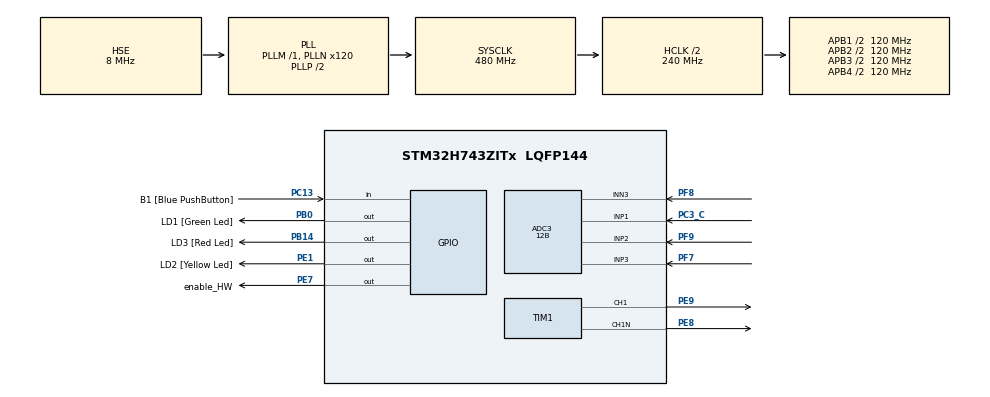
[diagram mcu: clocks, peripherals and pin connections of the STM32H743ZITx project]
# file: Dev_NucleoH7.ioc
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ADC3.Channel-1\#ChannelRegularConversion=ADC_CHANNEL_1
ADC3.Channel-2\#ChannelRegularConversion=ADC_CHANNEL_2
ADC3.Channel-3\#ChannelRegularConversion=ADC_CHANNEL_3
ADC3.ContinuousConvMode=DISABLE
ADC3.ConversionDataManagement=ADC_CONVERSIONDATA_DMA_CIRCULAR
ADC3.EOCSelection=ADC_EOC_SEQ_CONV
ADC3.ExternalTrigConv=ADC_EXTERNALTRIG_T1_TRGO
ADC3.ExternalTrigConvEdge=ADC_EXTERNALTRIGCONVEDGE_RISING
ADC3.NbrOfConversion=3
ADC3.NbrOfConversionFlag=1
ADC3.Offset-3\#ChannelRegularConversion=0
ADC3.OffsetNumber-1\#ChannelRegularConversion=ADC_OFFSET_NONE
ADC3.OffsetNumber-2\#ChannelRegularConversion=ADC_OFFSET_NONE
ADC3.OffsetNumber-3\#ChannelRegularConversion=ADC_OFFSET_1
ADC3.OffsetSignedSaturation-1\#ChannelRegularConversion=DISABLE
ADC3.Rank-1\#ChannelRegularConversion=1
ADC3.Rank-2\#ChannelRegularConversion=2
ADC3.Rank-3\#ChannelRegularConversion=3
ADC3.Resolution=ADC_RESOLUTION_12B
ADC3.SamplingTime-1\#ChannelRegularConversion=ADC_SAMPLETIME_1CYCLE_5
ADC3.SamplingTime-2\#ChannelRegularConversion=ADC_SAMPLETIME_1CYCLE_5
ADC3.SamplingTime-3\#ChannelRegularConversion=ADC_SAMPLETIME_1CYCLE_5
ADC3.SingleDiff-3\#ChannelRegularConversion=ADC_DIFFERENTIAL_ENDED
Dma.ADC3.0.Direction=DMA_PERIPH_TO_MEMORY
Dma.ADC3.0.EventEnable=DISABLE
Dma.ADC3.0.FIFOMode=DMA_FIFOMODE_DISABLE
Dma.ADC3.0.Instance=DMA1_Stream0
Dma.ADC3.0.MemDataAlignment=DMA_MDATAALIGN_WORD
Dma.ADC3.0.MemInc=DMA_MINC_ENABLE
Dma.ADC3.0.Mode=DMA_CIRCULAR
Dma.ADC3.0.PeriphDataAlignment=DMA_PDATAALIGN_WORD
Dma.ADC3.0.PeriphInc=DMA_PINC_DISABLE
Dma.ADC3.0.Polarity=HAL_DMAMUX_REQ_GEN_RISING
Dma.ADC3.0.Priority=DMA_PRIORITY_LOW
Dma.ADC3.0.RequestNumber=1
Dma.ADC3.0.SignalID=NONE
Dma.ADC3.0.SyncEnable=DISABLE
Dma.ADC3.0.SyncPolarity=HAL_DMAMUX_SYNC_NO_EVENT
Dma.ADC3.0.SyncRequestNumber=1
Dma.ADC3.0.SyncSignalID=NONE
Dma.Request0=ADC3
FREERTOS.Queues01=qMeasurements,16,float,0,Dynamic,NULL,NULL;qControl,16,float,0,Dynamic,NULL,NULL
FREERTOS.Tasks01=Measurements,24,128,initMeasurements,Default,NULL,Dynamic,NULL,NULL;Control,24,128,initControl,Default,NULL,Dynamic,NULL,NULL;Safety,24,128,initSafety,Default,NULL,Dynamic,NULL,NULL
FREERTOS.configGENERATE_RUN_TIME_STATS=1
FREERTOS.configUSE_APPLICATION_TASK_TAG=0
FREERTOS.configUSE_NEWLIB_REENTRANT=1
Mcu.Family=STM32H7
Mcu.Name=STM32H743ZITx
Mcu.Package=LQFP144
NVIC.ADC3_IRQn=true\:5\:0\:false\:false\:true\:true\:true\:true\:true
NVIC.DMA1_Stream0_IRQn=true\:5\:0\:false\:false\:true\:true\:false\:true\:true
NVIC.PriorityGroup=NVIC_PRIORITYGROUP_4
NVIC.TIM1_BRK_IRQn=true\:5\:0\:false\:false\:true\:true\:true\:true\:true
NVIC.TIM1_UP_IRQn=true\:5\:0\:false\:false\:true\:true\:true\:true\:true
NVIC.TIM6_DAC_IRQn=true\:15\:0\:false\:false\:true\:false\:false\:true\:true
NVIC.TimeBase=TIM6_DAC_IRQn
NVIC.TimeBaseIP=TIM6
PA1.Signal=ETH_REF_CLK
PA11.Signal=USB_OTG_FS_DM
PA12.Signal=USB_OTG_FS_DP
PA13\ (JTMS/SWDIO).Mode=Trace_Asynchronous_SW
PA13\ (JTMS/SWDIO).Signal=DEBUG_JTMS-SWDIO
PA14\ (JTCK/SWCLK).Mode=Trace_Asynchronous_SW
PA14\ (JTCK/SWCLK).Signal=DEBUG_JTCK-SWCLK
PA2.Signal=ETH_MDIO
PA7.Signal=ETH_CRS_DV
PA8.Signal=USB_OTG_FS_SOF
PA9.Signal=USB_OTG_FS_VBUS
PB0.GPIO_Label=LD1 [Green Led]
PB0.Signal=GPIO_Output
PB13.Signal=ETH_TXD1
PB14.GPIO_Label=LD3 [Red Led]
PB14.Signal=GPIO_Output
PB3\ (JTDO/TRACESWO).Mode=Trace_Asynchronous_SW
PB3\ (JTDO/TRACESWO).Signal=DEBUG_JTDO-SWO
PC13.GPIO_Label=B1 [Blue PushButton]
PC13.Signal=GPIO_Input
PC14-OSC32_IN\ (OSC32_IN).Mode=LSE-External-Oscillator
PC14-OSC32_IN\ (OSC32_IN).Signal=RCC_OSC32_IN
PC15-OSC32_OUT\ (OSC32_OUT).Mode=LSE-External-Oscillator
PC15-OSC32_OUT\ (OSC32_OUT).Signal=RCC_OSC32_OUT
PC3_C.Mode=IN1-Single-Ended
PC3_C.Signal=ADC3_INP1
PC4.Signal=ETH_RXD0
PC5.Signal=ETH_RXD1
PD8.GPIO_Label=STLINK_RX
PD8.Signal=USART3_TX
PD9.GPIO_Label=STLINK_TX
PD9.Signal=USART3_RX
PE1.GPIO_Label=LD2 [Yellow Led]
PE1.Signal=GPIO_Output
PE7.GPIO_Label=enable_HW
PE7.Signal=GPIO_Output
PE8.Mode=PWM Generation1 CH1 CH1N
PE8.Signal=TIM1_CH1N
PE9.Signal=S_TIM1_CH1
PF7.Mode=IN3-Differential
PF7.Signal=ADC3_INP3
PF8.Mode=IN3-Differential
PF8.Signal=ADC3_INN3
PF9.Mode=IN2-Single-Ended
PF9.Signal=ADC3_INP2
PG11.Signal=ETH_TX_EN
PG13.Signal=ETH_TXD0
PH0-OSC_IN\ (PH0).Mode=HSE-External-Clock-Source
PH0-OSC_IN\ (PH0).Signal=RCC_OSC_IN
PH1-OSC_OUT\ (PH1).Signal=RCC_OSC_OUT
ProjectManager.HeapSize=0x200
ProjectManager.StackSize=0x400
ProjectManager.TargetToolchain=STM32CubeIDE
RCC.ADCFreq_Value=76000000
RCC.APB1Freq_Value=120000000
RCC.APB2Freq_Value=120000000
RCC.APB3Freq_Value=120000000
RCC.APB4Freq_Value=120000000
RCC.CortexFreq_Value=480000000
RCC.D1PPRE=RCC_APB3_DIV2
RCC.D2PPRE1=RCC_APB1_DIV2
RCC.D2PPRE2=RCC_APB2_DIV2
RCC.D3PPRE=RCC_APB4_DIV2
RCC.DIVM1=1
RCC.DIVM2=1
RCC.DIVN1=120
RCC.DIVN2=19
RCC.DIVQ1=4
RCC.HCLKFreq_Value=240000000
RCC.HPRE=RCC_HCLK_DIV2
RCC.HSE_VALUE=8000000
RCC.PLLFRACN=0
RCC.PLLSourceVirtual=RCC_PLLSOURCE_HSE
RCC.PWR_Regulator_Voltage_Scale=PWR_REGULATOR_VOLTAGE_SCALE0
RCC.SYSCLKFreq_VALUE=480000000
RCC.SYSCLKSource=RCC_SYSCLKSOURCE_PLLCLK
RCC.USBCLockSelection=RCC_USBCLKSOURCE_HSI48
RCC.USBFreq_Value=48000000
SH.S_TIM1_CH1.0=TIM1_CH1,PWM Generation1 CH1 CH1N
TIM1.AutoReloadPreload=TIM_AUTORELOAD_PRELOAD_ENABLE
TIM1.Channel-PWM\ Generation1\ CH1\ CH1N=TIM_CHANNEL_1
TIM1.CounterMode=TIM_COUNTERMODE_CENTERALIGNED1
TIM1.DeadTime=DEAD_TIME*480000000*8
TIM1.LockLevel=TIM_LOCKLEVEL_1
TIM1.OCNIdleState_1=TIM_OCNIDLESTATE_SET
TIM1.OCNPolarity_1=TIM_OCNPOLARITY_LOW
TIM1.Period=(480000000/(FSW*4))-1
TIM1.TIM_MasterOutputTrigger=TIM_TRGO_UPDATE
VP_FREERTOS_VS_CMSIS_V2.Mode=CMSIS_V2
VP_SYS_VS_tim6.Mode=TIM6
VP_TIM1_VS_ClockSourceINT.Mode=Internal
board=NUCLEO-H743ZI2

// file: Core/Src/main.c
/* USER CODE BEGIN Header */
/**
  ******************************************************************************
  * @file           : main.c
  * @brief          : Main program body
  ******************************************************************************
  * @attention
  *
  * Copyright (c) 2023 STMicroelectronics.
  * All rights reserved.
  *
  * This software is licensed under terms that can be found in the LICENSE file
  * in the root directory of this software component.
  * If no LICENSE file comes with this software, it is provided AS-IS.
  *
  ******************************************************************************
  */
/* USER CODE END Header */
#include "main.h"
#include "cmsis_os.h"
#include "adc.h"
#include "dma.h"
#include "tim.h"
#include "gpio.h"

/* USER CODE BEGIN PV */
volatile uint32_t ADC3_raw[4]={0};
volatile float currentSetpoint = 0.0F;
volatile uint8_t enable = 0;
volatile float duty = 0.5F;
volatile float current = 0.0F;
volatile float voltage= 0.0F;
volatile float temp = 0.0F;

/* USER CODE END PV */

void SystemClock_Config(void);
void MX_FREERTOS_Init(void);

int main(void)
{

  /* MCU Configuration--------------------------------------------------------*/

  /* Reset of all peripherals, Initializes the Flash interface and the Systick. */
  HAL_Init();

  /* Configure the system clock */
  SystemClock_Config();

  /* Initialize all configured peripherals */
  MX_GPIO_Init();
  MX_DMA_Init();
  MX_ADC3_Init();
  MX_TIM1_Init();
  /* USER CODE BEGIN 2 */

    HAL_TIM_Base_Start(&htim1);

	HAL_ADCEx_Calibration_Start(&hadc3, ADC_CALIB_OFFSET, ADC_SINGLE_ENDED);
	HAL_ADC_Start_DMA(&hadc3, (uint32_t *) ADC3_raw,3);

  /* USER CODE END 2 */

  /* Init scheduler */
  osKernelInitialize();

  /* Call init function for freertos objects (in freertos.c) */
  MX_FREERTOS_Init();

  /* Start scheduler */
  osKernelStart();

  /* We should never get here as control is now taken by the scheduler */
  /* Infinite loop */
  while (1)
  {

  }
}

void SystemClock_Config(void)
{
  RCC_OscInitTypeDef RCC_OscInitStruct = {0};
  RCC_ClkInitTypeDef RCC_ClkInitStruct = {0};

  /** Supply configuration update enable
  */
  HAL_PWREx_ConfigSupply(PWR_LDO_SUPPLY);

  /** Configure the main internal regulator output voltage
  */
  __HAL_PWR_VOLTAGESCALING_CONFIG(PWR_REGULATOR_VOLTAGE_SCALE1);

  while(!__HAL_PWR_GET_FLAG(PWR_FLAG_VOSRDY)) {}

  __HAL_RCC_SYSCFG_CLK_ENABLE();
  __HAL_PWR_VOLTAGESCALING_CONFIG(PWR_REGULATOR_VOLTAGE_SCALE0);

  while(!__HAL_PWR_GET_FLAG(PWR_FLAG_VOSRDY)) {}

  /** Initializes the RCC Oscillators according to the specified parameters
  * in the RCC_OscInitTypeDef structure.
  */
  RCC_OscInitStruct.OscillatorType = RCC_OSCILLATORTYPE_HSE;
  RCC_OscInitStruct.HSEState = RCC_HSE_BYPASS;
  RCC_OscInitStruct.PLL.PLLState = RCC_PLL_ON;
  RCC_OscInitStruct.PLL.PLLSource = RCC_PLLSOURCE_HSE;
  RCC_OscInitStruct.PLL.PLLM = 1;
  RCC_OscInitStruct.PLL.PLLN = 120;
  RCC_OscInitStruct.PLL.PLLP = 2;
  RCC_OscInitStruct.PLL.PLLQ = 4;
  RCC_OscInitStruct.PLL.PLLR = 2;
  RCC_OscInitStruct.PLL.PLLRGE = RCC_PLL1VCIRANGE_3;
  RCC_OscInitStruct.PLL.PLLVCOSEL = RCC_PLL1VCOWIDE;
  RCC_OscInitStruct.PLL.PLLFRACN = 0;
  if (HAL_RCC_OscConfig(&RCC_OscInitStruct) != HAL_OK)
  {
    Error_Handler();
  }

  /** Initializes the CPU, AHB and APB buses clocks
  */
  RCC_ClkInitStruct.ClockType = RCC_CLOCKTYPE_HCLK|RCC_CLOCKTYPE_SYSCLK
                              |RCC_CLOCKTYPE_PCLK1|RCC_CLOCKTYPE_PCLK2
                              |RCC_CLOCKTYPE_D3PCLK1|RCC_CLOCKTYPE_D1PCLK1;
  RCC_ClkInitStruct.SYSCLKSource = RCC_SYSCLKSOURCE_PLLCLK;
  RCC_ClkInitStruct.SYSCLKDivider = RCC_SYSCLK_DIV1;
  RCC_ClkInitStruct.AHBCLKDivider = RCC_HCLK_DIV2;
  RCC_ClkInitStruct.APB3CLKDivider = RCC_APB3_DIV2;
  RCC_ClkInitStruct.APB1CLKDivider = RCC_APB1_DIV2;
  RCC_ClkInitStruct.APB2CLKDivider = RCC_APB2_DIV2;
  RCC_ClkInitStruct.APB4CLKDivider = RCC_APB4_DIV2;

  if (HAL_RCC_ClockConfig(&RCC_ClkInitStruct, FLASH_LATENCY_4) != HAL_OK)
  {
    Error_Handler();
  }
}

void HAL_TIM_PeriodElapsedCallback(TIM_HandleTypeDef *htim)
{
  if (htim->Instance == TIM6) {
    HAL_IncTick();
  }
}

void Error_Handler(void)
{
  __disable_irq();
  while (1)
  {
  }
}

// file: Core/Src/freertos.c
/* USER CODE BEGIN Header */
/**
  ******************************************************************************
  * File Name          : freertos.c
  * Description        : Code for freertos applications
  ******************************************************************************
  * @attention
  *
  * Copyright (c) 2024 STMicroelectronics.
  * All rights reserved.
  *
  * This software is licensed under terms that can be found in the LICENSE file
  * in the root directory of this software component.
  * If no LICENSE file comes with this software, it is provided AS-IS.
  *
  ******************************************************************************
  */
/* USER CODE END Header */

#include "FreeRTOS.h"
#include "task.h"
#include "main.h"
#include "cmsis_os.h"

/* USER CODE BEGIN Includes */
#include "tim.h"
/* USER CODE END Includes */

/* USER CODE BEGIN Variables */
struct Measurement {
  float current;
  float voltage;
  float temp;
};

/* USER CODE END Variables */
/* Definitions for Measurements */
osThreadId_t MeasurementsHandle;
const osThreadAttr_t Measurements_attributes = {
  .name = "Measurements",
  .stack_size = 128 * 4,
  .priority = (osPriority_t) osPriorityNormal,
};
/* Definitions for Control */
osThreadId_t ControlHandle;
const osThreadAttr_t Control_attributes = {
  .name = "Control",
  .stack_size = 128 * 4,
  .priority = (osPriority_t) osPriorityNormal,
};
/* Definitions for Safety */
osThreadId_t SafetyHandle;
const osThreadAttr_t Safety_attributes = {
  .name = "Safety",
  .stack_size = 128 * 4,
  .priority = (osPriority_t) osPriorityNormal,
};
/* Definitions for qMeasurements */
osMessageQueueId_t qMeasurementsHandle;
const osMessageQueueAttr_t qMeasurements_attributes = {
  .name = "qMeasurements"
};
/* Definitions for qControl */
osMessageQueueId_t qControlHandle;
const osMessageQueueAttr_t qControl_attributes = {
  .name = "qControl"
};

void initMeasurements(void *argument);
void initControl(void *argument);
void initSafety(void *argument);

void MX_FREERTOS_Init(void); /* (MISRA C 2004 rule 8.1) */

/* Hook prototypes */
void configureTimerForRunTimeStats(void);
unsigned long getRunTimeCounterValue(void);

/* USER CODE BEGIN 1 */
/* Functions needed when configGENERATE_RUN_TIME_STATS is on */
__weak void configureTimerForRunTimeStats(void)
{

}

__weak unsigned long getRunTimeCounterValue(void)
{
return 0;
}
/* USER CODE END 1 */

void MX_FREERTOS_Init(void) {

  /* Create the queue(s) */
  /* creation of qMeasurements */
  qMeasurementsHandle = osMessageQueueNew (16, sizeof(float), &qMeasurements_attributes);

  /* creation of qControl */
  qControlHandle = osMessageQueueNew (16, sizeof(float), &qControl_attributes);

  /* Create the thread(s) */
  /* creation of Measurements */
  MeasurementsHandle = osThreadNew(initMeasurements, NULL, &Measurements_attributes);

  /* creation of Control */
  ControlHandle = osThreadNew(initControl, NULL, &Control_attributes);

  /* creation of Safety */
  SafetyHandle = osThreadNew(initSafety, NULL, &Safety_attributes);

}

void initMeasurements(void *argument)
{
  /* USER CODE BEGIN initMeasurements */
  /* Infinite loop */
  for(;;)
  {
	// Wait for notification from Control task
	ulTaskNotifyTake(pdTRUE, 1);

	measurementsAlive++;
	HAL_GPIO_WritePin(GPIOB, LD1_Pin, GPIO_PIN_SET);
	HAL_GPIO_WritePin(GPIOB, LD3_Pin, GPIO_PIN_RESET);

	// Resume Control task
	vTaskResume(ControlHandle);

	// Suspend Measurements task
	vTaskSuspend(NULL);
  }
  /* USER CODE END initMeasurements */
}

void initControl(void *argument)
{
  /* USER CODE BEGIN initControl */
  /* Infinite loop */
  for(;;)
  {
	// Wait for notification from Measurements task
	ulTaskNotifyTake(pdTRUE, 1);

	// Calculate duty based on received current and setpoint
	currentSetpoint = (currentSetpoint < 0.0f) ? 0.0f : (currentSetpoint > 4.0f) ? 4.0f : currentSetpoint;

	//duty = (currentSetpoint - current) / voltage;

	duty = (duty < 0.0f) ? 0.0f : (duty > 0.99f) ? 0.99f : duty;

	if (enable) {
		enablePWM(htim1, duty);
		HAL_GPIO_WritePin(enable_HW_GPIO_Port, enable_HW_Pin, GPIO_PIN_SET);
		// Send duty to qControl
		//osMessageQueuePut(qControlHandle, &duty, 0, 0);

		controlAlive++;
		HAL_GPIO_WritePin(GPIOB, LD3_Pin, GPIO_PIN_SET);
		HAL_GPIO_WritePin(GPIOB, LD1_Pin, GPIO_PIN_RESET);

		// Resume Measurements task
		vTaskResume(MeasurementsHandle);

		// Suspend Control task
		vTaskSuspend(NULL);

	} else {
		disablePWM(htim1);
		controlAlive = 0;
		measurementsAlive = 0;

	}
  }
  /* USER CODE END initControl */
}

void initSafety(void *argument)
{
  /* USER CODE BEGIN initSafety */
  /* Infinite loop */
  for(;;)
  {
	enable = HAL_GPIO_ReadPin(B1_GPIO_Port, B1_Pin);
	// Read ADC3 and use getLinear and getTemperature results
	current = getLinear(ADC3_raw[1], currentSlope, currentOffset);
	voltage = getLinear(ADC3_raw[2]-2066, voltageSlope, voltageOffset);
	temp = tempLUT[ADC3_raw[0]]; // LUT array indexing

    osDelay(1);
    safetyAlive++;
  }
  /* USER CODE END initSafety */
}
